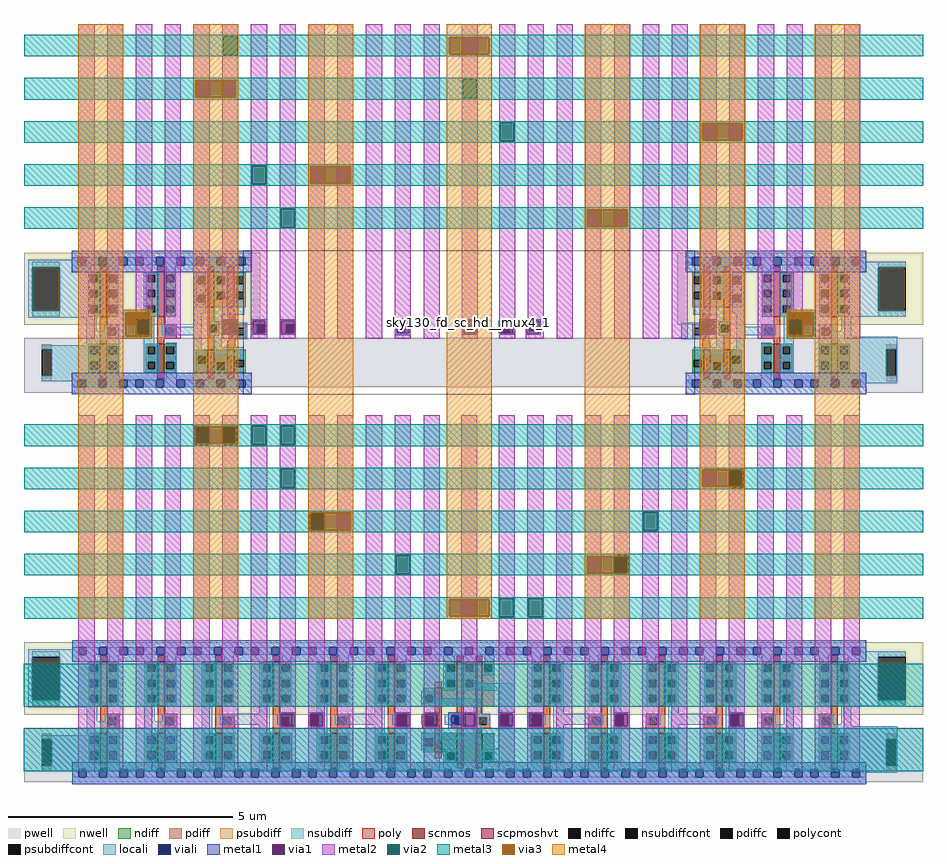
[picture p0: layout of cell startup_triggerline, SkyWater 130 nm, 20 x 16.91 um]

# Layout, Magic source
magic
tech sky130A
magscale 1 2
<< nwell >>
rect 7361 -28333 7562 -28012
rect 11146 -28333 11361 -28012
rect 7361 -30067 11361 -29746
<< pwell >>
rect 7361 -28610 11361 -28391
rect 7361 -28634 7631 -28610
rect 11108 -28634 11361 -28610
rect 7361 -30368 11361 -30125
<< psubdiff >>
rect 7440 -28442 7484 -28418
rect 7440 -28584 7484 -28560
rect 11198 -28442 11242 -28418
rect 11198 -28584 11242 -28560
rect 7440 -30176 7484 -30152
rect 7440 -30318 7484 -30294
rect 11198 -30176 11242 -30152
rect 11198 -30318 11242 -30294
<< nsubdiff >>
rect 7398 -28076 7520 -28051
rect 7398 -28297 7520 -28270
rect 11162 -28076 11284 -28051
rect 11162 -28297 11284 -28270
rect 7398 -29810 7520 -29785
rect 7398 -30031 7520 -30004
rect 11162 -29810 11284 -29785
rect 11162 -30031 11284 -30004
<< psubdiffcont >>
rect 7440 -28560 7484 -28442
rect 11198 -28560 11242 -28442
rect 7440 -30294 7484 -30176
rect 11198 -30294 11242 -30176
<< nsubdiffcont >>
rect 7398 -28270 7520 -28076
rect 11162 -28270 11284 -28076
rect 7398 -30004 7520 -29810
rect 11162 -30004 11284 -29810
<< locali >>
rect 7379 -28076 7659 -28042
rect 7379 -28270 7398 -28076
rect 7520 -28270 7659 -28076
rect 7379 -28301 7659 -28270
rect 11009 -28076 11284 -28051
rect 11009 -28270 11162 -28076
rect 11009 -28297 11284 -28270
rect 7638 -28424 7784 -28362
rect 7974 -28378 8151 -28342
rect 9470 -28332 9538 -28314
rect 9470 -28368 9486 -28332
rect 9520 -28368 9538 -28332
rect 9470 -28370 9538 -28368
rect 10286 -28397 10340 -28323
rect 10552 -28378 10692 -28342
rect 10896 -28386 11042 -28362
rect 7440 -28442 7784 -28424
rect 7484 -28560 7784 -28442
rect 7440 -28578 7784 -28560
rect 10896 -28442 11247 -28386
rect 10896 -28560 11198 -28442
rect 11242 -28560 11247 -28442
rect 10896 -28578 11247 -28560
rect 7440 -28584 7644 -28578
rect 11013 -28592 11247 -28578
rect 7379 -29810 7678 -29776
rect 7379 -30004 7398 -29810
rect 7520 -30004 7678 -29810
rect 7379 -30035 7678 -30004
rect 11026 -29810 11284 -29785
rect 11026 -30004 11162 -29810
rect 11026 -30031 11284 -30004
rect 7640 -30158 7786 -30096
rect 7440 -30176 7786 -30158
rect 7484 -30294 7786 -30176
rect 7440 -30312 7786 -30294
rect 7896 -30312 8042 -30096
rect 8246 -30112 8454 -30064
rect 8758 -30112 8966 -30064
rect 9726 -30112 9924 -30064
rect 10228 -30112 10436 -30064
rect 10640 -30280 10786 -30110
rect 7440 -30314 7734 -30312
rect 7440 -30318 7618 -30314
rect 10672 -30326 10786 -30280
rect 10896 -30120 11042 -30110
rect 10896 -30176 11247 -30120
rect 10896 -30294 11198 -30176
rect 11242 -30294 11247 -30176
rect 10896 -30326 11247 -30294
<< viali >>
rect 7882 -28366 7916 -28330
rect 8274 -28364 8308 -28328
rect 8396 -28366 8430 -28330
rect 8524 -28366 8558 -28330
rect 9022 -28368 9056 -28332
rect 9334 -28368 9368 -28332
rect 9486 -28368 9520 -28332
rect 9606 -28362 9640 -28326
rect 10372 -28364 10406 -28328
rect 10764 -28364 10798 -28328
rect 8638 -30114 8672 -30070
rect 9022 -30112 9056 -30072
rect 9148 -30108 9182 -30074
rect 9261 -30106 9295 -30072
rect 9484 -30114 9518 -30070
rect 9624 -30112 9658 -30072
rect 9996 -30114 10030 -30070
rect 10508 -30114 10542 -30070
<< metal1 >>
rect 7858 -28314 7930 -28308
rect 7858 -28370 7866 -28314
rect 7922 -28370 7930 -28314
rect 7858 -28376 7930 -28370
rect 8242 -28314 8314 -28308
rect 8242 -28370 8250 -28314
rect 8306 -28328 8314 -28314
rect 8308 -28364 8314 -28328
rect 8306 -28370 8314 -28364
rect 8242 -28376 8314 -28370
rect 8370 -28314 8442 -28308
rect 8370 -28370 8378 -28314
rect 8434 -28370 8442 -28314
rect 8370 -28376 8442 -28370
rect 8498 -28314 8570 -28308
rect 8498 -28370 8506 -28314
rect 8562 -28370 8570 -28314
rect 8498 -28376 8570 -28370
rect 9010 -28314 9082 -28306
rect 9010 -28370 9018 -28314
rect 9074 -28370 9082 -28314
rect 9010 -28378 9082 -28370
rect 9308 -28314 9380 -28308
rect 9308 -28370 9316 -28314
rect 9372 -28370 9380 -28314
rect 9308 -28376 9380 -28370
rect 9474 -28314 9546 -28308
rect 9474 -28370 9482 -28314
rect 9538 -28370 9546 -28314
rect 9474 -28376 9546 -28370
rect 9592 -28314 9660 -28308
rect 9592 -28370 9598 -28314
rect 9654 -28370 9660 -28314
rect 9592 -28376 9660 -28370
rect 10366 -28314 10442 -28308
rect 10366 -28328 10378 -28314
rect 10366 -28364 10372 -28328
rect 10366 -28370 10378 -28364
rect 10434 -28370 10442 -28314
rect 10366 -28376 10442 -28370
rect 10754 -28314 10826 -28308
rect 10754 -28370 10762 -28314
rect 10818 -28370 10826 -28314
rect 10754 -28376 10826 -28370
rect 8498 -30064 8570 -30056
rect 8498 -30120 8506 -30064
rect 8562 -30120 8570 -30064
rect 8498 -30128 8570 -30120
rect 8626 -30064 8698 -30056
rect 8626 -30120 8634 -30064
rect 8690 -30120 8698 -30064
rect 8626 -30128 8698 -30120
rect 9010 -30064 9082 -30056
rect 9010 -30120 9018 -30064
rect 9074 -30120 9082 -30064
rect 9010 -30128 9082 -30120
rect 9138 -30064 9210 -30056
rect 9138 -30120 9146 -30064
rect 9202 -30120 9210 -30064
rect 9138 -30128 9210 -30120
rect 9249 -30064 9377 -30056
rect 9249 -30072 9313 -30064
rect 9249 -30106 9261 -30072
rect 9295 -30106 9313 -30072
rect 9249 -30120 9313 -30106
rect 9369 -30120 9377 -30064
rect 9249 -30128 9377 -30120
rect 9472 -30064 9544 -30056
rect 9472 -30120 9480 -30064
rect 9536 -30120 9544 -30064
rect 9472 -30128 9544 -30120
rect 9600 -30064 9672 -30056
rect 9600 -30120 9608 -30064
rect 9664 -30120 9672 -30064
rect 9600 -30128 9672 -30120
rect 9984 -30064 10056 -30056
rect 9984 -30120 9992 -30064
rect 10048 -30120 10056 -30064
rect 9984 -30128 10056 -30120
rect 10496 -30064 10568 -30056
rect 10496 -30120 10504 -30064
rect 10560 -30120 10568 -30064
rect 10496 -30128 10568 -30120
<< via1 >>
rect 7866 -28330 7922 -28314
rect 7866 -28366 7882 -28330
rect 7882 -28366 7916 -28330
rect 7916 -28366 7922 -28330
rect 7866 -28370 7922 -28366
rect 8250 -28328 8306 -28314
rect 8250 -28364 8274 -28328
rect 8274 -28364 8306 -28328
rect 8250 -28370 8306 -28364
rect 8378 -28330 8434 -28314
rect 8378 -28366 8396 -28330
rect 8396 -28366 8430 -28330
rect 8430 -28366 8434 -28330
rect 8378 -28370 8434 -28366
rect 8506 -28330 8562 -28314
rect 8506 -28366 8524 -28330
rect 8524 -28366 8558 -28330
rect 8558 -28366 8562 -28330
rect 8506 -28370 8562 -28366
rect 9018 -28332 9074 -28314
rect 9018 -28368 9022 -28332
rect 9022 -28368 9056 -28332
rect 9056 -28368 9074 -28332
rect 9018 -28370 9074 -28368
rect 9316 -28332 9372 -28314
rect 9316 -28368 9334 -28332
rect 9334 -28368 9368 -28332
rect 9368 -28368 9372 -28332
rect 9316 -28370 9372 -28368
rect 9482 -28332 9538 -28314
rect 9482 -28368 9486 -28332
rect 9486 -28368 9520 -28332
rect 9520 -28368 9538 -28332
rect 9482 -28370 9538 -28368
rect 9598 -28326 9654 -28314
rect 9598 -28362 9606 -28326
rect 9606 -28362 9640 -28326
rect 9640 -28362 9654 -28326
rect 9598 -28370 9654 -28362
rect 10378 -28328 10434 -28314
rect 10378 -28364 10406 -28328
rect 10406 -28364 10434 -28328
rect 10378 -28370 10434 -28364
rect 10762 -28328 10818 -28314
rect 10762 -28364 10764 -28328
rect 10764 -28364 10798 -28328
rect 10798 -28364 10818 -28328
rect 10762 -28370 10818 -28364
rect 8506 -30120 8562 -30064
rect 8634 -30070 8690 -30064
rect 8634 -30114 8638 -30070
rect 8638 -30114 8672 -30070
rect 8672 -30114 8690 -30070
rect 8634 -30120 8690 -30114
rect 9018 -30072 9074 -30064
rect 9018 -30112 9022 -30072
rect 9022 -30112 9056 -30072
rect 9056 -30112 9074 -30072
rect 9018 -30120 9074 -30112
rect 9146 -30074 9202 -30064
rect 9146 -30108 9148 -30074
rect 9148 -30108 9182 -30074
rect 9182 -30108 9202 -30074
rect 9146 -30120 9202 -30108
rect 9313 -30120 9369 -30064
rect 9480 -30070 9536 -30064
rect 9480 -30114 9484 -30070
rect 9484 -30114 9518 -30070
rect 9518 -30114 9536 -30070
rect 9480 -30120 9536 -30114
rect 9608 -30072 9664 -30064
rect 9608 -30112 9624 -30072
rect 9624 -30112 9658 -30072
rect 9658 -30112 9664 -30072
rect 9608 -30120 9664 -30112
rect 9992 -30070 10048 -30064
rect 9992 -30114 9996 -30070
rect 9996 -30114 10030 -30070
rect 10030 -30114 10048 -30070
rect 9992 -30120 10048 -30114
rect 10504 -30070 10560 -30064
rect 10504 -30114 10508 -30070
rect 10508 -30114 10542 -30070
rect 10542 -30114 10560 -30070
rect 10504 -30120 10560 -30114
<< metal2 >>
rect 7602 -28394 7674 -26994
rect 7730 -28394 7802 -26994
rect 7858 -28314 7930 -26994
rect 7858 -28370 7866 -28314
rect 7922 -28370 7930 -28314
rect 7858 -28394 7930 -28370
rect 7986 -28394 8058 -26994
rect 8114 -28394 8186 -26994
rect 8242 -27048 8314 -26994
rect 8242 -27132 8246 -27048
rect 8310 -27132 8314 -27048
rect 8242 -28314 8314 -27132
rect 8242 -28370 8250 -28314
rect 8306 -28370 8314 -28314
rect 8242 -28394 8314 -28370
rect 8370 -27624 8442 -26994
rect 8370 -27708 8374 -27624
rect 8438 -27708 8442 -27624
rect 8370 -28314 8442 -27708
rect 8370 -28370 8378 -28314
rect 8434 -28370 8442 -28314
rect 8370 -28394 8442 -28370
rect 8498 -27816 8570 -26994
rect 8498 -27900 8502 -27816
rect 8566 -27900 8570 -27816
rect 8498 -28314 8570 -27900
rect 8498 -28370 8506 -28314
rect 8562 -28370 8570 -28314
rect 8498 -28394 8570 -28370
rect 8626 -28394 8698 -26994
rect 8754 -28394 8826 -26994
rect 8882 -28394 8954 -26994
rect 9010 -28314 9082 -26994
rect 9010 -28370 9018 -28314
rect 9074 -28370 9082 -28314
rect 9010 -28394 9082 -28370
rect 9138 -28394 9210 -26994
rect 9308 -27240 9380 -26994
rect 9308 -27324 9312 -27240
rect 9376 -27324 9380 -27240
rect 9308 -28314 9380 -27324
rect 9308 -28370 9316 -28314
rect 9372 -28370 9380 -28314
rect 9308 -28394 9380 -28370
rect 9474 -27432 9546 -26994
rect 9474 -27516 9478 -27432
rect 9542 -27516 9546 -27432
rect 9474 -28314 9546 -27516
rect 9602 -28308 9674 -26994
rect 9474 -28370 9482 -28314
rect 9538 -28370 9546 -28314
rect 9474 -28394 9546 -28370
rect 9592 -28314 9674 -28308
rect 9592 -28370 9598 -28314
rect 9654 -28370 9674 -28314
rect 9592 -28394 9674 -28370
rect 9730 -28394 9802 -26994
rect 9858 -28394 9930 -26994
rect 9986 -28394 10058 -26994
rect 10114 -28394 10186 -26994
rect 10242 -28394 10314 -26994
rect 10370 -28314 10442 -26994
rect 10370 -28370 10378 -28314
rect 10434 -28370 10442 -28314
rect 10370 -28394 10442 -28370
rect 10498 -28394 10570 -26994
rect 10626 -28394 10698 -26994
rect 10754 -28314 10826 -26994
rect 10754 -28370 10762 -28314
rect 10818 -28370 10826 -28314
rect 10754 -28394 10826 -28370
rect 10882 -28394 10954 -26994
rect 11010 -28394 11082 -26994
rect 7602 -30320 7674 -28736
rect 7730 -30320 7802 -28736
rect 7858 -30320 7930 -28736
rect 7986 -30320 8058 -28736
rect 8114 -28782 8186 -28736
rect 8114 -28866 8118 -28782
rect 8182 -28866 8186 -28782
rect 8114 -30320 8186 -28866
rect 8242 -28782 8314 -28736
rect 8242 -28866 8246 -28782
rect 8310 -28866 8314 -28782
rect 8242 -30320 8314 -28866
rect 8370 -28782 8442 -28736
rect 8370 -28866 8374 -28782
rect 8438 -28866 8442 -28782
rect 8370 -30320 8442 -28866
rect 8498 -28782 8570 -28736
rect 8498 -28866 8502 -28782
rect 8566 -28866 8570 -28782
rect 8498 -28974 8570 -28866
rect 8498 -29058 8502 -28974
rect 8566 -29058 8570 -28974
rect 8498 -30064 8570 -29058
rect 8498 -30120 8506 -30064
rect 8562 -30120 8570 -30064
rect 8498 -30320 8570 -30120
rect 8626 -29166 8698 -28736
rect 8626 -29250 8630 -29166
rect 8694 -29250 8698 -29166
rect 8626 -30064 8698 -29250
rect 8626 -30120 8634 -30064
rect 8690 -30120 8698 -30064
rect 8626 -30320 8698 -30120
rect 8754 -30320 8826 -28736
rect 8882 -30320 8954 -28736
rect 9010 -29358 9082 -28736
rect 9010 -29442 9014 -29358
rect 9078 -29442 9082 -29358
rect 9010 -30064 9082 -29442
rect 9010 -30120 9018 -30064
rect 9074 -30120 9082 -30064
rect 9010 -30320 9082 -30120
rect 9138 -30064 9210 -28736
rect 9138 -30120 9146 -30064
rect 9202 -30120 9210 -30064
rect 9138 -30320 9210 -30120
rect 9305 -30064 9377 -28736
rect 9305 -30120 9313 -30064
rect 9369 -30120 9377 -30064
rect 9305 -30320 9377 -30120
rect 9472 -29550 9544 -28736
rect 9472 -29634 9476 -29550
rect 9540 -29634 9544 -29550
rect 9472 -30064 9544 -29634
rect 9472 -30120 9480 -30064
rect 9536 -30120 9544 -30064
rect 9472 -30320 9544 -30120
rect 9600 -29550 9672 -28736
rect 9600 -29634 9604 -29550
rect 9668 -29634 9672 -29550
rect 9600 -30064 9672 -29634
rect 9600 -30120 9608 -30064
rect 9664 -30120 9672 -30064
rect 9600 -30320 9672 -30120
rect 9728 -30320 9800 -28736
rect 9856 -30320 9928 -28736
rect 9984 -29358 10056 -28736
rect 9984 -29442 9988 -29358
rect 10052 -29442 10056 -29358
rect 9984 -30064 10056 -29442
rect 9984 -30120 9992 -30064
rect 10048 -30120 10056 -30064
rect 9984 -30320 10056 -30120
rect 10112 -29166 10184 -28736
rect 10112 -29250 10116 -29166
rect 10180 -29250 10184 -29166
rect 10112 -30320 10184 -29250
rect 10240 -30320 10312 -28736
rect 10368 -30320 10440 -28736
rect 10496 -28974 10568 -28736
rect 10496 -29058 10500 -28974
rect 10564 -29058 10568 -28974
rect 10496 -30064 10568 -29058
rect 10496 -30120 10504 -30064
rect 10560 -30120 10568 -30064
rect 10496 -30320 10568 -30120
rect 10624 -30320 10696 -28736
rect 10752 -30320 10824 -28736
rect 10880 -30320 10952 -28736
rect 11008 -30320 11080 -28736
<< via2 >>
rect 7866 -28370 7922 -28314
rect 8246 -27132 8310 -27048
rect 8374 -27708 8438 -27624
rect 8502 -27900 8566 -27816
rect 9312 -27324 9376 -27240
rect 9478 -27516 9542 -27432
rect 10762 -28370 10818 -28314
rect 8118 -28866 8182 -28782
rect 8246 -28866 8310 -28782
rect 8374 -28866 8438 -28782
rect 8502 -28866 8566 -28782
rect 8502 -29058 8566 -28974
rect 8630 -29250 8694 -29166
rect 9014 -29442 9078 -29358
rect 9476 -29634 9540 -29550
rect 9604 -29634 9668 -29550
rect 9988 -29442 10052 -29358
rect 10116 -29250 10180 -29166
rect 10500 -29058 10564 -28974
<< metal3 >>
rect 7361 -27048 11361 -27042
rect 7361 -27132 8246 -27048
rect 8310 -27052 11361 -27048
rect 8310 -27128 9252 -27052
rect 9430 -27128 11361 -27052
rect 8310 -27132 11361 -27128
rect 7361 -27138 11361 -27132
rect 7361 -27240 11361 -27234
rect 7361 -27244 9312 -27240
rect 7361 -27320 8124 -27244
rect 8302 -27320 9312 -27244
rect 7361 -27324 9312 -27320
rect 9376 -27324 11361 -27240
rect 7361 -27330 11361 -27324
rect 7361 -27432 11361 -27426
rect 7361 -27516 9478 -27432
rect 9542 -27436 11361 -27432
rect 9542 -27512 10378 -27436
rect 10556 -27512 11361 -27436
rect 9542 -27516 11361 -27512
rect 7361 -27522 11361 -27516
rect 7361 -27624 11361 -27618
rect 7361 -27708 8374 -27624
rect 8438 -27628 11361 -27624
rect 8438 -27704 8636 -27628
rect 8814 -27704 11361 -27628
rect 8438 -27708 11361 -27704
rect 7361 -27714 11361 -27708
rect 7361 -27816 11361 -27810
rect 7361 -27900 8502 -27816
rect 8566 -27820 11361 -27816
rect 8566 -27896 9866 -27820
rect 10044 -27896 11361 -27820
rect 8566 -27900 11361 -27896
rect 7361 -27906 11361 -27900
rect 7802 -28276 7930 -28266
rect 7802 -28384 7812 -28276
rect 7920 -28314 7930 -28276
rect 7922 -28370 7930 -28314
rect 7920 -28384 7930 -28370
rect 7802 -28394 7930 -28384
rect 10754 -28276 10882 -28266
rect 10754 -28314 10764 -28276
rect 10754 -28370 10762 -28314
rect 10754 -28384 10764 -28370
rect 10872 -28384 10882 -28276
rect 10754 -28394 10882 -28384
rect 7361 -28782 11361 -28776
rect 7361 -28866 8118 -28782
rect 8182 -28786 8246 -28782
rect 8182 -28866 8246 -28862
rect 8310 -28866 8374 -28782
rect 8438 -28866 8502 -28782
rect 8566 -28866 11361 -28782
rect 7361 -28872 11361 -28866
rect 7361 -28974 11361 -28968
rect 7361 -29058 8502 -28974
rect 8566 -28978 10500 -28974
rect 8566 -29054 10378 -28978
rect 8566 -29058 10500 -29054
rect 10564 -29058 11361 -28974
rect 7361 -29064 11361 -29058
rect 7361 -29166 11361 -29160
rect 7361 -29250 8630 -29166
rect 8694 -29170 10116 -29166
rect 8814 -29246 10116 -29170
rect 8694 -29250 10116 -29246
rect 10180 -29250 11361 -29166
rect 7361 -29256 11361 -29250
rect 7361 -29358 11361 -29352
rect 7361 -29442 9014 -29358
rect 9078 -29362 9988 -29358
rect 9078 -29438 9866 -29362
rect 9078 -29442 9988 -29438
rect 10052 -29442 11361 -29358
rect 7361 -29448 11361 -29442
rect 7361 -29550 11361 -29544
rect 7361 -29554 9476 -29550
rect 7361 -29630 9252 -29554
rect 9430 -29630 9476 -29554
rect 7361 -29634 9476 -29630
rect 9540 -29634 9604 -29550
rect 9668 -29634 11361 -29550
rect 7361 -29640 11361 -29634
rect 7360 -30032 11361 -29840
rect 7360 -30320 11361 -30128
<< via3 >>
rect 9252 -27128 9430 -27052
rect 8124 -27320 8302 -27244
rect 10378 -27512 10556 -27436
rect 8636 -27704 8814 -27628
rect 9866 -27896 10044 -27820
rect 7812 -28314 7920 -28276
rect 7812 -28370 7866 -28314
rect 7866 -28370 7920 -28314
rect 7812 -28384 7920 -28370
rect 10764 -28314 10872 -28276
rect 10764 -28370 10818 -28314
rect 10818 -28370 10872 -28314
rect 10764 -28384 10872 -28370
rect 8124 -28862 8182 -28786
rect 8182 -28862 8246 -28786
rect 8246 -28862 8302 -28786
rect 10378 -29054 10500 -28978
rect 10500 -29054 10556 -28978
rect 8636 -29246 8694 -29170
rect 8694 -29246 8814 -29170
rect 9866 -29438 9988 -29362
rect 9988 -29438 10044 -29362
rect 9252 -29630 9430 -29554
<< metal4 >>
rect 7602 -28266 7802 -26994
rect 8114 -27244 8314 -26994
rect 8114 -27320 8124 -27244
rect 8302 -27320 8314 -27244
rect 7602 -28276 7930 -28266
rect 7602 -28384 7812 -28276
rect 7920 -28384 7930 -28276
rect 7602 -28394 7930 -28384
rect 7602 -29640 7802 -28394
rect 8114 -28786 8314 -27320
rect 8114 -28862 8124 -28786
rect 8302 -28862 8314 -28786
rect 8114 -29640 8314 -28862
rect 8626 -27628 8826 -26994
rect 8626 -27704 8636 -27628
rect 8814 -27704 8826 -27628
rect 8626 -29170 8826 -27704
rect 8626 -29246 8636 -29170
rect 8814 -29246 8826 -29170
rect 8626 -29640 8826 -29246
rect 9241 -27052 9441 -26994
rect 9241 -27128 9252 -27052
rect 9430 -27128 9441 -27052
rect 9241 -29554 9441 -27128
rect 9241 -29630 9252 -29554
rect 9430 -29630 9441 -29554
rect 9241 -29640 9441 -29630
rect 9856 -27820 10056 -26994
rect 9856 -27896 9866 -27820
rect 10044 -27896 10056 -27820
rect 9856 -29362 10056 -27896
rect 9856 -29438 9866 -29362
rect 10044 -29438 10056 -29362
rect 9856 -29640 10056 -29438
rect 10368 -27436 10568 -26994
rect 10368 -27512 10378 -27436
rect 10556 -27512 10568 -27436
rect 10368 -28978 10568 -27512
rect 10880 -28266 11080 -26994
rect 10754 -28276 11080 -28266
rect 10754 -28384 10764 -28276
rect 10872 -28384 11080 -28276
rect 10754 -28394 11080 -28384
rect 10368 -29054 10378 -28978
rect 10556 -29054 10568 -28978
rect 10368 -29640 10568 -29054
rect 10880 -29640 11080 -28394
use sky130_fd_sc_hd__buf_1  sky130_fd_sc_hd__buf_1_0 $PDKPATH/libs.ref/sky130_fd_sc_hd/mag
transform -1 0 8374 0 1 -28594
box -38 -48 314 592
use sky130_fd_sc_hd__inv_1  sky130_fd_sc_hd__inv_1_0
transform -1 0 8104 0 1 -28594
box -38 -48 314 592
use sky130_fd_sc_hd__inv_1  sky130_fd_sc_hd__inv_1_1
transform 1 0 9808 0 1 -30328
box -38 -48 314 592
use sky130_fd_sc_hd__inv_1  sky130_fd_sc_hd__inv_1_2
transform 1 0 10320 0 1 -30328
box -38 -48 314 592
use sky130_fd_sc_hd__inv_1  sky130_fd_sc_hd__inv_1_3
transform -1 0 8106 0 1 -30328
box -38 -48 314 592
use sky130_fd_sc_hd__inv_1  sky130_fd_sc_hd__inv_1_4
transform -1 0 9130 0 1 -30328
box -38 -48 314 592
use sky130_fd_sc_hd__inv_1  sky130_fd_sc_hd__inv_1_5
transform -1 0 8874 0 1 -30328
box -38 -48 314 592
use sky130_fd_sc_hd__inv_1  sky130_fd_sc_hd__inv_1_6
transform -1 0 8618 0 1 -30328
box -38 -48 314 592
use sky130_fd_sc_hd__inv_1  sky130_fd_sc_hd__inv_1_7
transform -1 0 8362 0 1 -30328
box -38 -48 314 592
use sky130_fd_sc_hd__inv_1  sky130_fd_sc_hd__inv_1_8
transform 1 0 10832 0 1 -30328
box -38 -48 314 592
use sky130_fd_sc_hd__inv_1  sky130_fd_sc_hd__inv_1_9
transform -1 0 7850 0 1 -30328
box -38 -48 314 592
use sky130_fd_sc_hd__inv_1  sky130_fd_sc_hd__inv_1_10
transform 1 0 10832 0 1 -28594
box -38 -48 314 592
use sky130_fd_sc_hd__inv_1  sky130_fd_sc_hd__inv_1_11
transform -1 0 7848 0 1 -28594
box -38 -48 314 592
use sky130_fd_sc_hd__inv_1  x2
transform 1 0 10576 0 1 -30328
box -38 -48 314 592
use sky130_fd_sc_hd__inv_1  x3
transform 1 0 10576 0 1 -28594
box -38 -48 314 592
use sky130_fd_sc_hd__mux4_1  x7 $PDKPATH/libs.ref/sky130_fd_sc_hd/mag
transform 1 0 8374 0 1 -28594
box -38 -48 1970 592
use sky130_fd_sc_hd__inv_1  x8
transform 1 0 10064 0 1 -30328
box -38 -48 314 592
use sky130_fd_sc_hd__inv_1  x9
transform 1 0 9552 0 1 -30328
box -38 -48 314 592
use sky130_fd_sc_hd__buf_1  x11
transform 1 0 10306 0 1 -28594
box -38 -48 314 592
use sky130_fd_sc_hd__nand2b_1  x18 $PDKPATH/libs.ref/sky130_fd_sc_hd/mag
transform 1 0 9110 0 1 -30328
box -38 -48 498 592
<< end >>

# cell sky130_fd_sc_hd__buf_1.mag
magic
tech sky130A
magscale 1 2
<< nwell >>
rect -38 261 314 582
<< pwell >>
rect 1 21 275 177
rect 31 -17 65 21
<< scnmos >>
rect 79 47 109 151
rect 167 47 197 151
<< scpmoshvt >>
rect 79 339 109 497
rect 167 339 197 497
<< ndiff >>
rect 27 106 79 151
rect 27 72 35 106
rect 69 72 79 106
rect 27 47 79 72
rect 109 93 167 151
rect 109 59 121 93
rect 155 59 167 93
rect 109 47 167 59
rect 197 123 249 151
rect 197 89 207 123
rect 241 89 249 123
rect 197 47 249 89
<< pdiff >>
rect 27 477 79 497
rect 27 443 35 477
rect 69 443 79 477
rect 27 409 79 443
rect 27 375 35 409
rect 69 375 79 409
rect 27 339 79 375
rect 109 477 167 497
rect 109 443 121 477
rect 155 443 167 477
rect 109 409 167 443
rect 109 375 121 409
rect 155 375 167 409
rect 109 339 167 375
rect 197 477 249 497
rect 197 443 207 477
rect 241 443 249 477
rect 197 396 249 443
rect 197 362 207 396
rect 241 362 249 396
rect 197 339 249 362
<< ndiffc >>
rect 35 72 69 106
rect 121 59 155 93
rect 207 89 241 123
<< pdiffc >>
rect 35 443 69 477
rect 35 375 69 409
rect 121 443 155 477
rect 121 375 155 409
rect 207 443 241 477
rect 207 362 241 396
<< poly >>
rect 79 497 109 523
rect 167 497 197 523
rect 79 324 109 339
rect 73 300 109 324
rect 73 265 103 300
rect 167 278 197 339
rect 27 249 103 265
rect 27 215 37 249
rect 71 215 103 249
rect 27 199 103 215
rect 145 262 199 278
rect 145 228 155 262
rect 189 228 199 262
rect 145 212 199 228
rect 73 190 103 199
rect 73 166 109 190
rect 79 151 109 166
rect 167 151 197 212
rect 79 21 109 47
rect 167 21 197 47
<< polycont >>
rect 37 215 71 249
rect 155 228 189 262
<< locali >>
rect 0 527 29 561
rect 63 527 121 561
rect 155 527 213 561
rect 247 527 276 561
rect 33 477 69 493
rect 33 443 35 477
rect 33 409 69 443
rect 33 375 35 409
rect 105 477 171 527
rect 105 443 121 477
rect 155 443 171 477
rect 105 409 171 443
rect 105 375 121 409
rect 155 375 171 409
rect 205 477 259 493
rect 205 443 207 477
rect 241 443 259 477
rect 205 396 259 443
rect 33 341 69 375
rect 205 362 207 396
rect 241 362 259 396
rect 33 307 168 341
rect 205 312 259 362
rect 134 278 168 307
rect 21 249 89 271
rect 21 215 37 249
rect 71 215 89 249
rect 21 197 89 215
rect 134 262 189 278
rect 134 228 155 262
rect 134 212 189 228
rect 134 161 168 212
rect 35 127 168 161
rect 223 152 259 312
rect 35 106 69 127
rect 207 123 259 152
rect 35 51 69 72
rect 105 59 121 93
rect 155 59 171 93
rect 105 17 171 59
rect 241 89 259 123
rect 207 51 259 89
rect 0 -17 29 17
rect 63 -17 121 17
rect 155 -17 213 17
rect 247 -17 276 17
<< viali >>
rect 29 527 63 561
rect 121 527 155 561
rect 213 527 247 561
rect 29 -17 63 17
rect 121 -17 155 17
rect 213 -17 247 17
<< metal1 >>
rect 0 561 276 592
rect 0 527 29 561
rect 63 527 121 561
rect 155 527 213 561
rect 247 527 276 561
rect 0 496 276 527
rect 0 17 276 48
rect 0 -17 29 17
rect 63 -17 121 17
rect 155 -17 213 17
rect 247 -17 276 17
rect 0 -48 276 -17
<< labels >>
flabel metal1 s 31 -17 65 17 0 FreeSans 200 0 0 0 VGND
port 1 nsew
flabel metal1 s 29 527 63 561 0 FreeSans 200 0 0 0 VPWR
port 2 nsew
flabel locali s 29 527 63 561 0 FreeSans 200 0 0 0 VPWR
port 2 nsew
flabel locali s 31 -17 65 17 0 FreeSans 200 0 0 0 VGND
port 1 nsew
flabel locali s 211 85 245 119 0 FreeSans 200 0 0 0 X
port 3 nsew
flabel locali s 211 357 245 391 0 FreeSans 200 0 0 0 X
port 3 nsew
flabel locali s 211 425 245 459 0 FreeSans 200 0 0 0 X
port 3 nsew
flabel locali s 29 221 63 255 0 FreeSans 200 0 0 0 A
port 4 nsew
rlabel comment s 0 0 0 0 4 buf_1
flabel nwell s 29 527 63 561 0 FreeSans 200 0 0 0 VPB
port 6 nsew
flabel pwell s 31 -17 65 17 0 FreeSans 200 0 0 0 VNB
port 7 nsew
<< properties >>
string FIXED_BBOX 0 0 276 544
string GDS_END 161886
string GDS_FILE adc_top.gds.gz
string GDS_START 157966
string path 0.000 2.720 1.380 2.720 
<< end >>

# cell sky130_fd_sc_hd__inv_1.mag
magic
tech sky130A
magscale 1 2
<< nwell >>
rect -38 261 314 582
<< pwell >>
rect 42 21 228 203
rect 42 17 63 21
rect 29 -17 63 17
<< scnmos >>
rect 120 47 150 177
<< scpmoshvt >>
rect 120 297 150 497
<< ndiff >>
rect 68 165 120 177
rect 68 131 76 165
rect 110 131 120 165
rect 68 97 120 131
rect 68 63 76 97
rect 110 63 120 97
rect 68 47 120 63
rect 150 165 202 177
rect 150 131 160 165
rect 194 131 202 165
rect 150 97 202 131
rect 150 63 160 97
rect 194 63 202 97
rect 150 47 202 63
<< pdiff >>
rect 68 485 120 497
rect 68 451 76 485
rect 110 451 120 485
rect 68 417 120 451
rect 68 383 76 417
rect 110 383 120 417
rect 68 349 120 383
rect 68 315 76 349
rect 110 315 120 349
rect 68 297 120 315
rect 150 485 202 497
rect 150 451 160 485
rect 194 451 202 485
rect 150 417 202 451
rect 150 383 160 417
rect 194 383 202 417
rect 150 349 202 383
rect 150 315 160 349
rect 194 315 202 349
rect 150 297 202 315
<< ndiffc >>
rect 76 131 110 165
rect 76 63 110 97
rect 160 131 194 165
rect 160 63 194 97
<< pdiffc >>
rect 76 451 110 485
rect 76 383 110 417
rect 76 315 110 349
rect 160 451 194 485
rect 160 383 194 417
rect 160 315 194 349
<< poly >>
rect 120 497 150 523
rect 120 265 150 297
rect 64 249 150 265
rect 64 215 80 249
rect 114 215 150 249
rect 64 199 150 215
rect 120 177 150 199
rect 120 21 150 47
<< polycont >>
rect 80 215 114 249
<< locali >>
rect 0 527 29 561
rect 63 527 121 561
rect 155 527 213 561
rect 247 527 276 561
rect 68 485 110 527
rect 68 451 76 485
rect 68 417 110 451
rect 68 383 76 417
rect 68 349 110 383
rect 68 315 76 349
rect 68 299 110 315
rect 144 485 210 493
rect 144 451 160 485
rect 194 451 210 485
rect 144 417 210 451
rect 144 383 160 417
rect 194 383 210 417
rect 144 349 210 383
rect 144 315 160 349
rect 194 315 210 349
rect 144 297 210 315
rect 64 249 130 263
rect 64 215 80 249
rect 114 215 130 249
rect 64 165 110 181
rect 164 177 210 297
rect 64 131 76 165
rect 64 97 110 131
rect 64 63 76 97
rect 64 17 110 63
rect 144 165 210 177
rect 144 131 160 165
rect 194 131 210 165
rect 144 97 210 131
rect 144 63 160 97
rect 194 63 210 97
rect 144 51 210 63
rect 0 -17 29 17
rect 63 -17 121 17
rect 155 -17 213 17
rect 247 -17 276 17
<< viali >>
rect 29 527 63 561
rect 121 527 155 561
rect 213 527 247 561
rect 29 -17 63 17
rect 121 -17 155 17
rect 213 -17 247 17
<< metal1 >>
rect 0 561 276 592
rect 0 527 29 561
rect 63 527 121 561
rect 155 527 213 561
rect 247 527 276 561
rect 0 496 276 527
rect 0 17 276 48
rect 0 -17 29 17
rect 63 -17 121 17
rect 155 -17 213 17
rect 247 -17 276 17
rect 0 -48 276 -17
<< labels >>
flabel metal1 s 29 -17 63 17 0 FreeSans 200 0 0 0 VGND
port 1 nsew
flabel metal1 s 29 527 63 561 0 FreeSans 200 0 0 0 VPWR
port 2 nsew
flabel locali s 164 289 198 323 0 FreeSans 340 0 0 0 Y
port 4 nsew
flabel locali s 164 221 198 255 0 FreeSans 340 0 0 0 Y
port 4 nsew
flabel locali s 72 221 106 255 0 FreeSans 340 0 0 0 A
port 3 nsew
rlabel comment s 0 0 0 0 4 inv_1
flabel nwell s 29 527 63 561 0 FreeSans 200 0 0 0 VPB
port 6 nsew
flabel pwell s 29 -17 63 17 0 FreeSans 200 0 0 0 VNB
port 7 nsew
<< properties >>
string FIXED_BBOX 0 0 276 544
string GDS_END 197690
string GDS_FILE adc_top.gds.gz
string GDS_START 194184
string path 0.000 0.000 1.380 0.000 
<< end >>

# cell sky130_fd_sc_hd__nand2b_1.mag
magic
tech sky130A
magscale 1 2
<< nwell >>
rect -38 261 498 582
<< pwell >>
rect 1 67 368 203
rect 30 21 368 67
rect 30 -17 64 21
<< scnmos >>
rect 79 93 109 177
rect 176 47 206 177
rect 260 47 290 177
<< scpmoshvt >>
rect 79 297 109 381
rect 176 297 206 497
rect 260 297 290 497
<< ndiff >>
rect 27 155 79 177
rect 27 121 35 155
rect 69 121 79 155
rect 27 93 79 121
rect 109 93 176 177
rect 124 59 132 93
rect 166 59 176 93
rect 124 47 176 59
rect 206 47 260 177
rect 290 93 342 177
rect 290 59 300 93
rect 334 59 342 93
rect 290 47 342 59
<< pdiff >>
rect 124 485 176 497
rect 124 451 132 485
rect 166 451 176 485
rect 124 417 176 451
rect 124 383 132 417
rect 166 383 176 417
rect 124 381 176 383
rect 27 349 79 381
rect 27 315 35 349
rect 69 315 79 349
rect 27 297 79 315
rect 109 297 176 381
rect 206 485 260 497
rect 206 451 216 485
rect 250 451 260 485
rect 206 417 260 451
rect 206 383 216 417
rect 250 383 260 417
rect 206 297 260 383
rect 290 485 343 497
rect 290 451 300 485
rect 334 451 343 485
rect 290 297 343 451
<< ndiffc >>
rect 35 121 69 155
rect 132 59 166 93
rect 300 59 334 93
<< pdiffc >>
rect 132 451 166 485
rect 132 383 166 417
rect 35 315 69 349
rect 216 451 250 485
rect 216 383 250 417
rect 300 451 334 485
<< poly >>
rect 176 497 206 523
rect 260 497 290 523
rect 79 381 109 407
rect 79 265 109 297
rect 176 265 206 297
rect 260 265 290 297
rect 22 249 109 265
rect 22 215 38 249
rect 72 215 109 249
rect 22 199 109 215
rect 151 249 217 265
rect 151 215 167 249
rect 201 215 217 249
rect 151 199 217 215
rect 260 249 326 265
rect 260 215 276 249
rect 310 215 326 249
rect 260 199 326 215
rect 79 177 109 199
rect 176 177 206 199
rect 260 177 290 199
rect 79 67 109 93
rect 176 21 206 47
rect 260 21 290 47
<< polycont >>
rect 38 215 72 249
rect 167 215 201 249
rect 276 215 310 249
<< locali >>
rect 0 527 29 561
rect 63 527 121 561
rect 155 527 213 561
rect 247 527 305 561
rect 339 527 397 561
rect 431 527 460 561
rect 116 485 166 527
rect 116 451 132 485
rect 116 417 166 451
rect 116 383 132 417
rect 116 367 166 383
rect 200 485 266 493
rect 200 451 216 485
rect 250 451 266 485
rect 200 417 266 451
rect 300 485 343 527
rect 334 451 343 485
rect 300 435 343 451
rect 200 383 216 417
rect 250 401 266 417
rect 250 383 434 401
rect 200 367 434 383
rect 18 349 74 365
rect 18 315 35 349
rect 69 333 74 349
rect 69 315 285 333
rect 18 299 285 315
rect 251 265 285 299
rect 18 249 88 263
rect 18 215 38 249
rect 72 215 88 249
rect 122 249 217 263
rect 122 215 167 249
rect 201 215 217 249
rect 251 249 326 265
rect 251 215 276 249
rect 310 215 326 249
rect 251 181 285 215
rect 18 155 285 181
rect 18 121 35 155
rect 69 147 285 155
rect 69 121 72 147
rect 18 105 72 121
rect 360 109 434 367
rect 116 93 182 109
rect 116 59 132 93
rect 166 59 182 93
rect 116 17 182 59
rect 284 93 434 109
rect 284 59 300 93
rect 334 59 434 93
rect 284 51 434 59
rect 0 -17 29 17
rect 63 -17 121 17
rect 155 -17 213 17
rect 247 -17 305 17
rect 339 -17 397 17
rect 431 -17 460 17
<< viali >>
rect 29 527 63 561
rect 121 527 155 561
rect 213 527 247 561
rect 305 527 339 561
rect 397 527 431 561
rect 29 -17 63 17
rect 121 -17 155 17
rect 213 -17 247 17
rect 305 -17 339 17
rect 397 -17 431 17
<< metal1 >>
rect 0 561 460 592
rect 0 527 29 561
rect 63 527 121 561
rect 155 527 213 561
rect 247 527 305 561
rect 339 527 397 561
rect 431 527 460 561
rect 0 496 460 527
rect 0 17 460 48
rect 0 -17 29 17
rect 63 -17 121 17
rect 155 -17 213 17
rect 247 -17 305 17
rect 339 -17 397 17
rect 431 -17 460 17
rect 0 -48 460 -17
<< labels >>
flabel metal1 s 30 -17 64 17 0 FreeSans 200 0 0 0 VGND
port 1 nsew
flabel metal1 s 30 527 64 561 0 FreeSans 200 0 0 0 VPWR
port 2 nsew
flabel locali s 397 357 431 391 0 FreeSans 250 0 0 0 Y
port 5 nsew
flabel locali s 397 289 431 323 0 FreeSans 250 0 0 0 Y
port 5 nsew
flabel locali s 397 85 431 119 0 FreeSans 250 0 0 0 Y
port 5 nsew
flabel locali s 397 221 431 255 0 FreeSans 250 0 0 0 Y
port 5 nsew
flabel locali s 397 153 431 187 0 FreeSans 250 0 0 0 Y
port 5 nsew
flabel locali s 30 221 64 255 0 FreeSans 250 0 0 0 A_N
port 3 nsew
flabel locali s 122 221 156 255 0 FreeSans 250 0 0 0 B
port 4 nsew
rlabel comment s 0 0 0 0 4 nand2b_1
flabel nwell s 30 527 64 561 0 FreeSans 200 0 0 0 VPB
port 7 nsew
flabel pwell s 30 -17 64 17 0 FreeSans 200 0 0 0 VNB
port 8 nsew
<< properties >>
string FIXED_BBOX 0 0 460 544
string GDS_END 672378
string GDS_FILE adc_top.gds.gz
string GDS_START 667836
string path 0.000 0.000 11.500 0.000 
<< end >>
